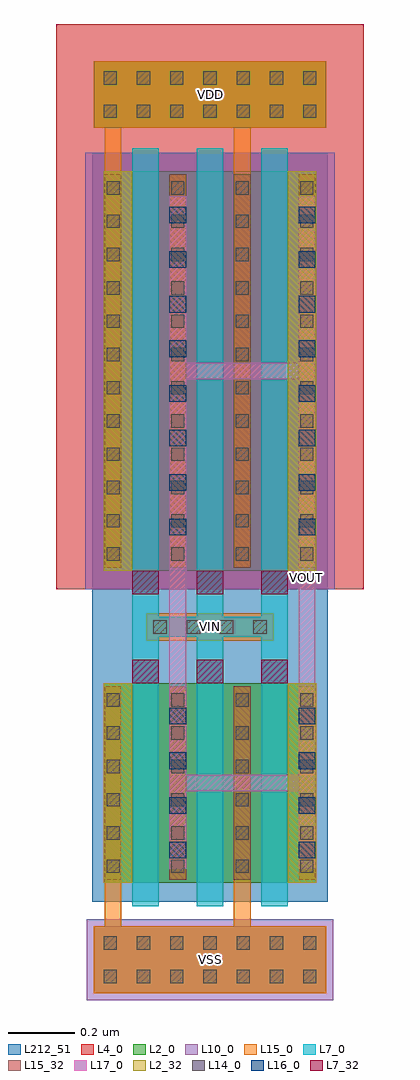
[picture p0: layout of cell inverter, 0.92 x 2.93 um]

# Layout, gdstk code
import gdstk
lib = gdstk.Library(unit=1e-6, precision=1e-09)
def R(c, l, rs):  # rectangles x0, y0, x1, y1
    for r in rs: c.add(gdstk.rectangle(r[:2], r[2:], *l))
def A(c, l, x, y, w, h, nx, ny, dx, dy):  # array of equal rectangles
    R(c, l, [(x+i*dx, y+j*dy, x+i*dx+w, y+j*dy+h) for i in range(nx) for j in range(ny)])
L2_0 = (2, 0)
L2_32 = (2, 32)
L4_0 = (4, 0)
L7_0 = (7, 0)
L7_32 = (7, 32)
L10_0 = (10, 0)
L14_0 = (14, 0)
L15_0 = (15, 0)
L15_32 = (15, 32)
L16_0 = (16, 0)
L17_0 = (17, 0)
L212_51 = (212, 51)

nch = lib.new_cell('nch')
R(nch, L2_0, [(-0.319,-0.3,0.319,0.3)])
R(nch, L2_32, [(-0.319,-0.3,-0.234,0.3), (0.234,-0.3,0.319,0.3)])
A(nch, L7_0, -0.234, -0.37, 0.08, 0.74, 3, 1, 0.194, 0)
A(nch, L7_32, -0.234, 0.3, 0.08, 0.07, 3, 1, 0.194, 0)
A(nch, L14_0, -0.311, -0.27, 0.04, 0.04, 4, 6, 0.194, 0.1)
A(nch, L15_0, -0.316, -0.291, 0.05, 0.582, 4, 1, 0.194, 0)
A(nch, L15_32, -0.316, -0.291, 0.05, 0.582, 4, 1, 0.194, 0)
R(nch, L212_51, [(-0.354,-0.356,0.354,0.356)])

m1_nod = lib.new_cell('M1_NOD')
R(m1_nod, L2_0, [(-0.35,-0.1,0.35,0.1)])
A(m1_nod, L14_0, -0.32, -0.07, 0.04, 0.04, 7, 2, 0.1, 0.1)
R(m1_nod, L15_0, [(-0.35,-0.1,0.35,0.1)])

m1_pod = lib.new_cell('M1_POD')
R(m1_pod, L2_0, [(-0.35,-0.1,0.35,0.1)])
R(m1_pod, L10_0, [(-0.371,-0.121,0.371,0.121)])
A(m1_pod, L14_0, -0.32, -0.07, 0.04, 0.04, 7, 2, 0.1, 0.1)
R(m1_pod, L15_0, [(-0.35,-0.1,0.35,0.1)])

pch = lib.new_cell('pch')
R(pch, L2_0, [(-0.319,-0.6,0.319,0.6)])
R(pch, L2_32, [(-0.319,-0.6,-0.234,0.6), (0.234,-0.6,0.319,0.6)])
A(pch, L7_0, -0.234, -0.67, 0.08, 1.34, 3, 1, 0.194, 0)
A(pch, L7_32, -0.234, -0.67, 0.08, 0.07, 3, 1, 0.194, 0)
R(pch, L10_0, [(-0.375,-0.656,0.375,0.656)])
A(pch, L14_0, -0.311, -0.57, 0.04, 0.04, 4, 12, 0.194, 0.1)
A(pch, L15_0, -0.316, -0.591, 0.05, 1.182, 4, 1, 0.194, 0)
A(pch, L15_32, -0.316, -0.591, 0.05, 1.182, 4, 1, 0.194, 0)
R(pch, L212_51, [(-0.354,-0.656,0.354,0.656)])

pccam1_cdns_697420452980 = lib.new_cell('PCCAM1_CDNS_697420452980')
R(pccam1_cdns_697420452980, L7_0, [(-0.18,-0.03,0.18,0.03)])
A(pccam1_cdns_697420452980, L14_0, -0.17, -0.02, 0.04, 0.04, 4, 1, 0.1, 0)
R(pccam1_cdns_697420452980, L15_0, [(-0.191,-0.041,0.191,0.041)])

m1v1m2_cdns_697420452981 = lib.new_cell('M1V1M2_CDNS_697420452981')
R(m1v1m2_cdns_697420452981, L15_0, [(-0.025,-0.24,0.025,0.24)])
A(m1v1m2_cdns_697420452981, L16_0, -0.025, -0.226, 0.05, 0.05, 1, 4, 0, 0.134)
R(m1v1m2_cdns_697420452981, L17_0, [(-0.025,-0.258,0.025,0.258)])

m1v1m2_cdns_697420452982 = lib.new_cell('M1V1M2_CDNS_697420452982')
R(m1v1m2_cdns_697420452982, L15_0, [(-0.025,-0.508,0.025,0.508)])
A(m1v1m2_cdns_697420452982, L16_0, -0.025, -0.494, 0.05, 0.05, 1, 8, 0, 0.134)
R(m1v1m2_cdns_697420452982, L17_0, [(-0.025,-0.526,0.025,0.526)])

inverter = lib.new_cell('inverter')
R(inverter, L4_0, [(-0.462,0.944,0.462,2.643)])
R(inverter, L7_0, [(-0.234,0.801,0.234,0.861)])
R(inverter, L212_51, [(-0.354,0.006,0.354,2.256)])
inverter.add(gdstk.FlexPath([(-0.097,1.6),(0.291,1.6)], 0.05, ends="flush", simple_path=True, layer=17, datatype=0))  # L17_0
inverter.add(gdstk.FlexPath([(-0.097,0.362),(0.291,0.362)], 0.05, ends="flush", simple_path=True, layer=17, datatype=0))  # L17_0
inverter.add(gdstk.FlexPath([(-0.097,0.362),(-0.097,1.6)], 0.05, ends="flush", simple_path=True, layer=17, datatype=0))  # L17_0
inverter.add(gdstk.FlexPath([(0.291,0.362),(0.291,1.6)], 0.05, ends="flush", simple_path=True, layer=17, datatype=0))  # L17_0
inverter.add(gdstk.FlexPath([(-0.194,0.362),(-0.194,1.6)], 0.08, ends="flush", simple_path=True, layer=7, datatype=0))  # L7_0
inverter.add(gdstk.FlexPath([(0,0.362),(0,1.6)], 0.08, ends="flush", simple_path=True, layer=7, datatype=0))  # L7_0
inverter.add(gdstk.FlexPath([(0.194,0.362),(0.194,1.6)], 0.08, ends="flush", simple_path=True, layer=7, datatype=0))  # L7_0
inverter.add(gdstk.FlexPath([(-0.291,0.362),(-0.291,-0.169)], 0.05, ends="flush", simple_path=True, layer=15, datatype=0))  # L15_0
inverter.add(gdstk.FlexPath([(0.097,0.362),(0.097,-0.169)], 0.05, ends="flush", simple_path=True, layer=15, datatype=0))  # L15_0
inverter.add(gdstk.FlexPath([(-0.291,1.6),(-0.291,2.431)], 0.05, ends="flush", simple_path=True, layer=15, datatype=0))  # L15_0
inverter.add(gdstk.FlexPath([(0.097,1.6),(0.097,2.431)], 0.05, ends="flush", simple_path=True, layer=15, datatype=0))  # L15_0
inverter.add(gdstk.Reference(nch, (0,0.362)))
inverter.add(gdstk.Reference(m1_nod, (0,2.431)))
inverter.add(gdstk.Reference(m1_pod, (0,-0.169)))
inverter.add(gdstk.Reference(pch, (0,1.6)))
inverter.add(gdstk.Reference(pccam1_cdns_697420452980, (0,0.831)))
inverter.add(gdstk.Reference(m1v1m2_cdns_697420452981, (-0.097,0.362)))
inverter.add(gdstk.Reference(m1v1m2_cdns_697420452981, (0.291,0.362)))
inverter.add(gdstk.Reference(m1v1m2_cdns_697420452982, (-0.097,1.6)))
inverter.add(gdstk.Reference(m1v1m2_cdns_697420452982, (0.291,1.6)))
inverter.add(gdstk.Label('VOUT', (0.291,0.981), layer=17, texttype=20))
inverter.add(gdstk.Label('VSS', (0,-0.169), layer=15, texttype=20))
inverter.add(gdstk.Label('VDD', (0,2.431), layer=15, texttype=20))
inverter.add(gdstk.Label('VIN', (0,0.831), layer=15, texttype=20))

lib.write_gds('inverter.gds')
